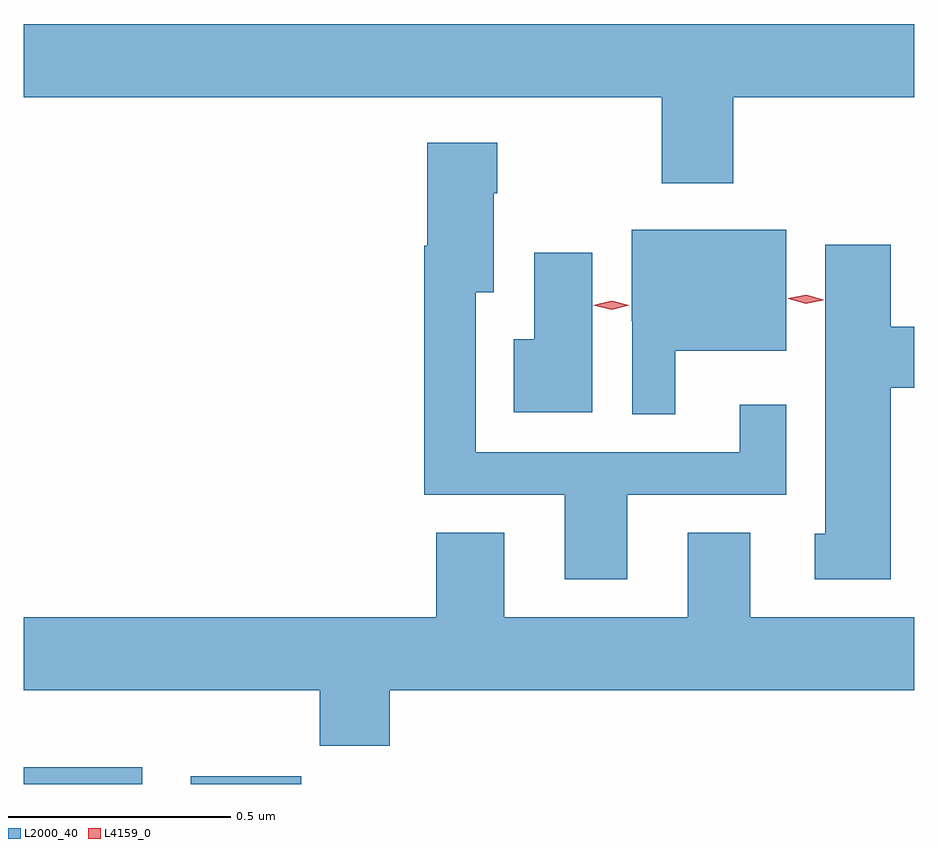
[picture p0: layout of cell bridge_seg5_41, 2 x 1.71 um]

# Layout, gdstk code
import gdstk
lib = gdstk.Library(unit=1e-6, precision=1e-09)
def R(c, l, rs):  # rectangles x0, y0, x1, y1
    for r in rs: c.add(gdstk.rectangle(r[:2], r[2:], *l))
def P(c, l, *ps):  # polygons
    for p in ps: c.add(gdstk.Polygon(p, *l))
L2000_40 = (2000, 40)
L4159_0 = (4159, 0)

bridge_seg5_41 = lib.new_cell('bridge_seg5_41')
R(bridge_seg5_41, L2000_40, [(682.586,845.894,682.852,845.932), (682.961,845.894,683.21,845.911)])
P(bridge_seg5_41, L2000_40, [(684.179,847.436),(684.586,847.436),(684.586,847.6),(682.586,847.6),(682.586,847.436),(684.019,847.436),(684.019,847.242),(684.179,847.242)],
  [(683.941,846.543),(684.298,846.543),(684.298,846.745),(684.194,846.745),(684.194,846.639),(683.601,846.639),(683.601,846.998),(683.641,846.998),(683.641,847.22),(683.649,847.22),(683.649,847.333),(683.492,847.333),(683.492,847.102),(683.485,847.102),(683.485,846.543),(683.801,846.543),(683.801,846.354),(683.941,846.354)],
  [(684.049,846.866),(684.298,846.866),(684.298,847.138),(683.951,847.138),(683.951,846.933),(683.952,846.933),(683.952,846.724),(684.049,846.724)],
  [(684.533,846.784),(684.586,846.784),(684.586,846.92),(684.533,846.92),(684.533,847.105),(684.386,847.105),(684.386,846.456),(684.362,846.456),(684.362,846.354),(684.533,846.354)],
  [(683.863,847.087),(683.732,847.087),(683.732,846.892),(683.686,846.892),(683.686,846.728),(683.863,846.728)],
  [(683.408,846.104),(684.586,846.104),(684.586,846.268),(684.217,846.268),(684.217,846.458),(684.077,846.458),(684.077,846.268),(683.665,846.268),(683.665,846.458),(683.513,846.458),(683.513,846.268),(682.586,846.268),(682.586,846.104),(683.251,846.104),(683.251,845.98),(683.408,845.98)])
P(bridge_seg5_41, L4159_0, [(684.342,846.972),(684.303,846.983),(684.303,846.984),(684.303,846.984),(684.343,846.992),(684.381,846.981),(684.382,846.981),(684.381,846.98)],
  [(683.906,846.959),(683.865,846.969),(683.865,846.969),(683.865,846.969),(683.906,846.979),(683.946,846.969),(683.946,846.969),(683.946,846.969)])

lib.write_gds('bridge_seg5_41.gds')
